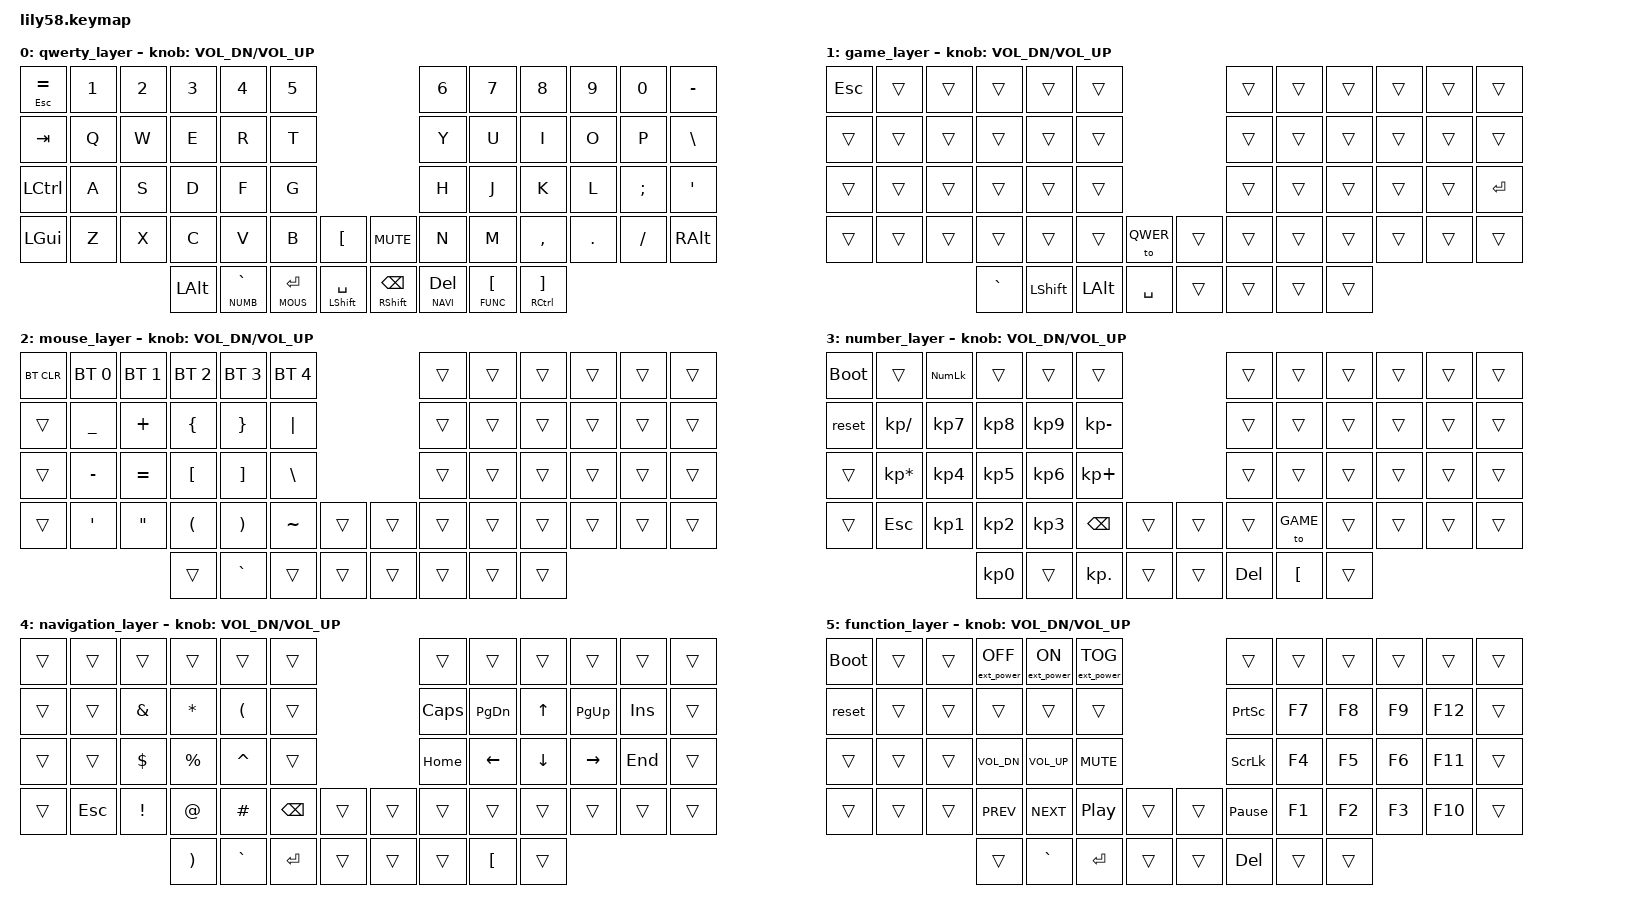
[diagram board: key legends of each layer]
/*
 * Copyright (c) 2020 The ZMK Contributors
 *
 * SPDX-License-Identifier: MIT
 */

#include <behaviors.dtsi>
#include <dt-bindings/zmk/keys.h>
#include <dt-bindings/zmk/bt.h>
#include <dt-bindings/zmk/ext_power.h>


#define QWER 		0
#define GAME		1
#define MOUS		2
#define NUMB		3
#define NAVI		4
#define FUNC		5

&mt {
	flavor = "balanced";
};

&lt {
	flavor = "balanced";
};

/ {
	keymap {
		compatible = "zmk,keymap";

		qwerty_layer {
/* QWERTY
 * ,-----------------------------------------.                    ,-----------------------------------------.
 * |   +  |   1  |   2  |   3  |   4  |   5  |                    |   6  |   7  |   8  |   9  |   0  |   -  |
 * |  ESC |      |      |      |      |      |                    |      |      |      |      |      |      |
 * |------+------+------+------+------+------|                    |------+------+------+------+------+------|
 * |  Tab |   Q  |   W  |   E  |   R  |   T  |                    |   Y  |   U  |   I  |   O  |   P  |   \  |
 * |      |      |      |      |      |      |                    |      |      |      |      |      |      |
 * |------+------+------+------+------+------|                    |------+------+------+------+------+------|
 * | LCTRL|   A  |   S  |   D  |   F  |   G  |-------.    ,-------|   H  |   J  |   K  |   L  |   ;  |   '  |
 * |      |      |      |      |      |      |REDOMOD|    |  Mute |      |      |      |      |      |      |
 * |------+------+------+------+------+------|       |    |       |------+------+------+------+------+------|
 * | LGUI |   Z  |   X  |   C  |   V  |   B  |-------|    |-------|   N  |   M  |   ,  |   .  |   /  | RAlt |
 * |      |      |      |      |      |      |       |    |       |      |      |      |      |      |      |
 * `-----------------------------------------/      /      \      \-----------------------------------------'
 *                   | LAlt |   `  | Enter| / Space/        \BackSP\  |  Del |   [  |   ]  |
 *                   |      |Number| Mouse|/ LSFT /          \ RSFT \ |  Nav | Func | RCtrl|
 *                   `---------------------------'            '------''--------------------'
 */
			bindings = <
&mt ESC EQUAL &kp N1 &kp N2 &kp N3   &kp N4         &kp N5                                      &kp N6       &kp N7        &kp N8         &kp N9  &kp N0   &kp MINUS
&kp TAB       &kp Q  &kp W  &kp E    &kp R          &kp T                                       &kp Y        &kp U         &kp I          &kp O   &kp P    &kp BSLH
&kp LCTRL     &kp A  &kp S  &kp D    &kp F          &kp G                                       &kp H        &kp J         &kp K          &kp L   &kp SEMI &kp SQT
&kp LGUI      &kp Z  &kp X  &kp C    &kp V          &kp B        &kp LBKT        &kp C_MUTE     &kp N        &kp M         &kp COMMA      &kp DOT &kp FSLH &kp RALT
                            &kp LALT &lt NUMB GRAVE &lt MOUS RET &mt LSHFT SPACE &mt RSHFT BSPC &lt NAVI DEL &lt FUNC LBKT &mt RCTRL RBKT
			>;

			sensor-bindings = <&inc_dec_kp C_VOL_DN C_VOL_UP>;
		};

		game_layer {
/* GAME
 * ,-----------------------------------------.                    ,-----------------------------------------.
 * |  ESC |      |      |      |      |      |                    |      |      |      |      |      |      |
 * |      |      |      |      |      |      |                    |      |      |      |      |      |      |
 * |------+------+------+------+------+------|                    |------+------+------+------+------+------|
 * |      |      |      |      |      |      |                    |      |      |      |      |      |      |
 * |      |      |      |      |      |      |                    |      |      |      |      |      |      |
 * |------+------+------+------+------+------|                    |------+------+------+------+------+------|
 * |      |      |      |      |      |      |-------.    ,-------|      |      |      |      |      | Enter|
 * |      |      |      |      |      |      |  TO0  |    |       |      |      |      |      |      |      |
 * |------+------+------+------+------+------|       |    |       |------+------+------+------+------+------|
 * |      |      |      |      |      |      |-------|    |-------|      |      |      |      |      |      |
 * |      |      |      |      |      |      |       |    |       |      |      |      |      |      |      |
 * `-----------------------------------------/      /      \      \-----------------------------------------'
 *                   |   `  | LSFT | LAlt | / Space/        \      \   |      |      |      |
 *                   |      |      |      |/      /          \      \  |      |      |      |
 *                   `---------------------------'            '-------''--------------------'
 */
			bindings = <
&kp ESC &trans &trans &trans    &trans    &trans                    &trans &trans &trans &trans &trans &trans 
&trans  &trans &trans &trans    &trans    &trans                    &trans &trans &trans &trans &trans &trans 
&trans  &trans &trans &trans    &trans    &trans                    &trans &trans &trans &trans &trans &kp RET
&trans  &trans &trans &trans    &trans    &trans   &to QWER  &trans &trans &trans &trans &trans &trans &trans
                      &kp GRAVE &kp LSHFT &kp LALT &kp SPACE &trans &trans &trans &trans 
			>;

			sensor-bindings = <&inc_dec_kp C_VOL_DN C_VOL_UP>;
		};

		mouse_layer {
/* MOUSE
 * ,-----------------------------------------.                    ,-----------------------------------------.
 * | BT_CL| BT_0 | BT_1 | BT_2 | BT_3 | BT_4 |                    |      |      |      |      |      |      |
 * |      |      |      |      |      |      |                    |      |      |      |      |      |      |
 * |------+------+------+------+------+------|                    |------+------+------+------+------+------|
 * |      |   _  |   +  |   {  |   }  |   |  |                    | WH L | WH D | MS U | WH U | WH R |      |
 * |      |      |      |      |      |      |                    |      |      |      |      |      |      |
 * |------+------+------+------+------+------|                    |------+------+------+------+------+------|
 * |      |   -  |   =  |   [  |   ]  |   \  |-------.    ,-------| BTN4 | MS L | MS D | MS R | BTN5 |      |
 * |      |      |      |      |      |      |       |    |       |      |      |      |      |      |      |
 * |------+------+------+------+------+------|       |    |       |------+------+------+------+------+------|
 * |      |   '  |   "  |   (  |   )  |   ~  |-------|    |-------| Redo | Paste| Copy |  Cut | Undo |      |
 * |      |      |      |      |      |      |       |    |       |      |      |      |      |      |      |
 * `-----------------------------------------/      /      \      \-----------------------------------------'
 *                   |      |   `  |      | /      /        \ BTN1 \  | BTN3 | BTN2 |      |
 *                   |      |      |      |/      /          \      \ |      |      |      |
 *                   `---------------------------'            '------''--------------------'
 */
			bindings = <
&bt BT_CLR &bt BT_SEL 0 &bt BT_SEL 1 &bt BT_SEL 2 &bt BT_SEL 3 &bt BT_SEL 4               &trans &trans &trans &trans &trans &trans
&trans     &kp UNDER    &kp PLUS     &kp LBRC     &kp RBRC     &kp PIPE                   &trans &trans &trans &trans &trans &trans
&trans     &kp MINUS    &kp EQUAL    &kp LBKT     &kp RBKT     &kp BSLH                   &trans &trans &trans &trans &trans &trans
&trans     &kp SQT      &kp DQT      &kp LPAR     &kp RPAR     &kp TILDE    &trans &trans &trans &trans &trans &trans &trans &trans
                                     &trans       &kp GRAVE    &trans       &trans &trans &trans &trans &trans
			>;

			sensor-bindings = <&inc_dec_kp C_VOL_DN C_VOL_UP>;
		};

		number_layer {
/* NUMBER
 * ,-----------------------------------------.                    ,-----------------------------------------.
 * | Flash|      |  Num |      |      |      |                    |      |      |      |      |      |      |
 * |      |      |      |      |      |      |                    |      |      |      |      |      |      |
 * |------+------+------+------+------+------|                    |------+------+------+------+------+------|
 * | Reset|   /  |   7  |   8  |   9  |   -  |                    |      |      |      |      |      |      |
 * |      |      |      |      |      |      |                    |      |      |      |      |      |      |
 * |------+------+------+------+------+------|                    |------+------+------+------+------+------|
 * |      |   *  |   4  |   5  |   6  |   +  |-------.    ,-------|      |      |      |      |      |      |
 * |      |      |      |      |      |      |       |    |       |      |      |      |      |      |      |
 * |------+------+------+------+------+------|       |    |       |------+------+------+------+------+------|
 * |      |  Esc |   1  |   2  |   3  |BackSP|-------|    |-------|      | Game |      |      |      |      |
 * |      |      |      |      |      |      |       |    |       |      |      |      |      |      |      |
 * `-----------------------------------------/      /      \      \-----------------------------------------'
 *                   |   0  |      |   .  | /      /        \      \  |  Del |   [  |      |
 *                   |      |      |      |/      /          \      \ |      |      |      |
 *                   `---------------------------'            '------''--------------------'
 */
			bindings = <
&bootloader &trans          &kp KP_NLCK &trans    &trans    &trans                     &trans  &trans   &trans &trans &trans &trans
&reset      &kp KP_DIVIDE   &kp KP_N7   &kp KP_N8 &kp KP_N9 &kp KP_MINUS               &trans  &trans   &trans &trans &trans &trans
&trans      &kp KP_MULTIPLY &kp KP_N4   &kp KP_N5 &kp KP_N6 &kp KP_PLUS                &trans  &trans   &trans &trans &trans &trans
&trans      &kp ESC         &kp KP_N1   &kp KP_N2 &kp KP_N3 &kp BSPC     &trans &trans &trans  &to GAME &trans &trans &trans &trans
                                        &kp KP_N0 &trans    &kp KP_DOT   &trans &trans &kp DEL &kp LBKT &trans
			>;

			sensor-bindings = <&inc_dec_kp C_VOL_DN C_VOL_UP>;
		};

		navigation_layer {
/* NAVIGATION
 * ,-----------------------------------------.                    ,-----------------------------------------.
 * |      |      |      |      |      |      |                    |      |      |      |      |      |      |
 * |      |      |      |      |      |      |                    |      |      |      |      |      |      |
 * |------+------+------+------+------+------|                    |------+------+------+------+------+------|
 * |      |      |   &  |   *  |   (  |      |                    | Caps | PGDN |  Up  | PGUP |  Ins |      |
 * |      |      |      |      |      |      |                    |      |      |      |      |      |      |
 * |------+------+------+------+------+------|                    |------+------+------+------+------+------|
 * |      |      |   $  |   %  |   ^  |      |-------.    ,-------| Home | Left | Down | Right|  End |      |
 * |      |      |      |      |      |      |       |    |       |      |      |      |      |      |      |
 * |------+------+------+------+------+------|       |    |       |------+------+------+------+------+------|
 * |      |  Esc |   !  |   @  |   #  |BackSP|-------|    |-------| Redo | Paste| Copy |  Cut | Undo |      |
 * |      |      |      |      |      |      |       |    |       |      |      |      |      |      |      |
 * `-----------------------------------------/      /      \      \-----------------------------------------'
 *                   |   )  |   `  | Enter| /      /        \      \  |      |   [  |      |
 *                   |      |      |      |/      /          \      \ |      |      |      |
 *                   `---------------------------'            '------''--------------------'
 */
			bindings = <
&trans &trans  &trans   &trans    &trans    &trans                 &trans   &trans    &trans   &trans    &trans  &trans
&trans &trans  &kp AMPS &kp STAR  &kp LPAR  &trans                 &kp CAPS &kp PG_DN &kp UP   &kp PG_UP &kp INS &trans
&trans &trans  &kp DLLR &kp PRCNT &kp CARET &trans                 &kp HOME &kp LEFT  &kp DOWN &kp RIGHT &kp END &trans
&trans &kp ESC &kp EXCL &kp AT    &kp HASH  &kp BSPC &trans &trans &trans   &trans    &trans   &trans    &trans  &trans
                        &kp RPAR  &kp GRAVE &kp RET  &trans &trans &trans   &kp LBKT  &trans
			>;

			sensor-bindings = <&inc_dec_kp C_VOL_DN C_VOL_UP>;
		};

		function_layer {
/* FUNCTION
 * ,-----------------------------------------.                    ,-----------------------------------------.
 * | Flash|      |      |EP_OFF| EP_ON|EP_TOG|                    |      |      |      |      |      |      |
 * |      |      |      |      |      |      |                    |      |      |      |      |      |      |
 * |------+------+------+------+------+------|                    |------+------+------+------+------+------|
 * | Reset|      |      |      |      |      |                    | PSCR |  F7  |  F8  |  F9  |  F12 |      |
 * |      |      |      |      |      |      |                    |      |      |      |      |      |      |
 * |------+------+------+------+------+------|                    |------+------+------+------+------+------|
 * |      |      |      | Vol- | Vol+ | Mute |-------.    ,-------| SCRL |  F4  |  F5  |  F5  |  F11 |      |
 * |      |      |      |      |      |      |       |    |       |      |      |      |      |      |      |
 * |------+------+------+------+------+------|       |    |       |------+------+------+------+------+------|
 * |      |      |      | Prev | Next | Play |-------|    |-------| PAUS |  F1  |  F2  |  F3  |  F10 |      |
 * |      |      |      |      |      |      |       |    |       |      |      |      |      |      |      |
 * `-----------------------------------------/      /      \      \-----------------------------------------'
 *                   |      |   `  | Enter| /      /        \      \  |  Del |      |      |
 *                   |      |      |      |/      /          \      \ |      |      |      |
 *                   `---------------------------'            '------''--------------------'
 */
			bindings = <
&bootloader &trans &trans &ext_power EP_OFF &ext_power EP_ON &ext_power EP_TOG               &trans    		 &trans &trans &trans &trans  &trans
&reset      &trans &trans &trans            &trans           &trans                          &kp PSCRN 		 &kp F7 &kp F8 &kp F9 &kp F12 &trans
&trans      &trans &trans &kp C_VOL_DN      &kp C_VOL_UP     &kp C_MUTE                      &kp SLCK        &kp F4 &kp F5 &kp F6 &kp F11 &trans
&trans      &trans &trans &kp C_PREV        &kp C_NEXT       &kp C_PP          &trans &trans &kp PAUSE_BREAK &kp F1 &kp F2 &kp F3 &kp F10 &trans
                          &trans            &kp GRAVE        &kp RET           &trans &trans &kp DEL 		 &trans &trans
			>;

			sensor-bindings = <&inc_dec_kp C_VOL_DN C_VOL_UP>;
		};
	};
};
